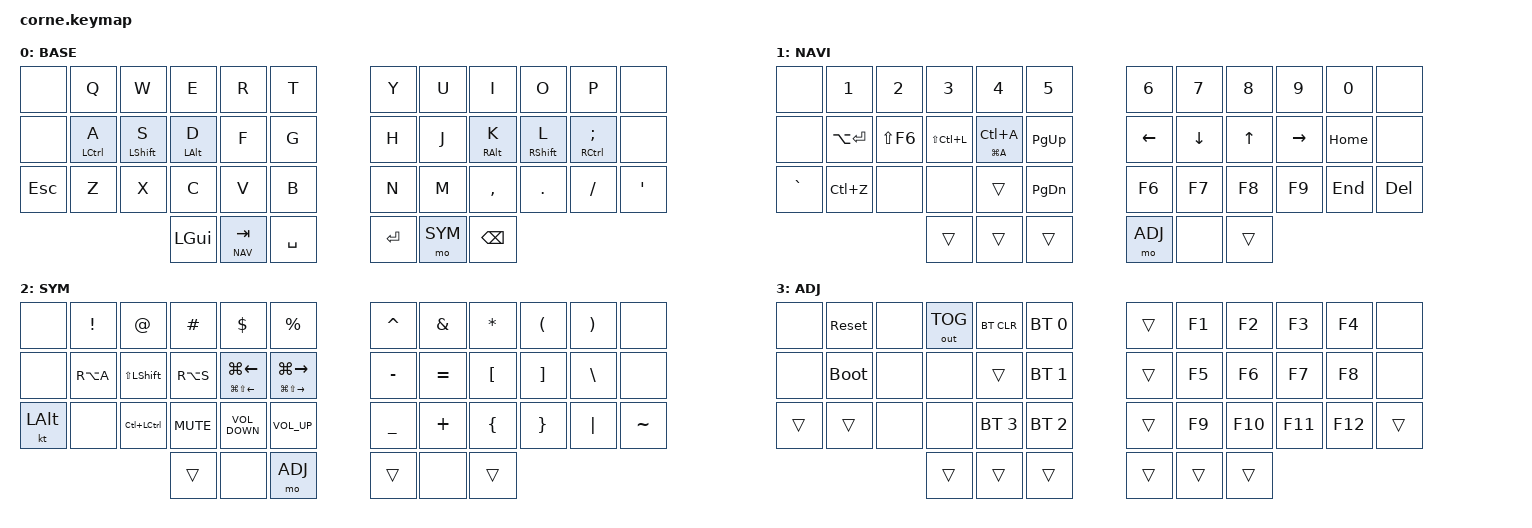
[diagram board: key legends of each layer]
/*
 * Copyright (c) 2020 The ZMK Contributors
 *
 * SPDX-License-Identifier: MIT
 */

#include <behaviors.dtsi>
#include <dt-bindings/zmk/bt.h>
#include <dt-bindings/zmk/keys.h>
#include <dt-bindings/zmk/outputs.h>

#define BASE 0
#define NAV  1
#define SYM  2
#define ADJ  3

&mt {
    quick-tap-ms = <100>;
    require-prior-idle-ms = <100>;
    flavor = "tap-preferred";
    tapping-term-ms = <180>;
};

/ {
    combos {
        compatible = "zmk,combos";

        combo_esc {
            timeout-ms = <50>;
            key-positions = <1 2>;
            bindings = <&kp ESC>;
        };

        screenshot {
            bindings = <&mt PRINTSCREEN LG(LS(NUMBER_4))>;
            key-positions = <30 31 32 33>;
        };

        backspace {
            bindings = <&kp BACKSPACE>;
            key-positions = <29 28 27>;
        };

        toggleshift {
            bindings = <&kt LEFT_SHIFT>;
            key-positions = <18 19 20>;
        };

        bspace_right {
            bindings = <&kp BACKSPACE>;
            key-positions = <30 31 32>;
        };

        copy {
            bindings = <&kp C_AC_COPY>;
            key-positions = <15 16>;
        };

        paste {
            bindings = <&kp C_AC_PASTE>;
            key-positions = <17 16>;
        };

        layout {
            bindings = <&kp LS(LEFT_ALT)>;
            key-positions = <13 14 15 28>;
        };

        Project_window {
            bindings = <&kp LA(NUMBER_1)>;
            key-positions = <14 15>;
        };

        Git_window {
            bindings = <&kp LA(N9)>;
            key-positions = <26 27>;
        };
    };

    keymap {
        compatible = "zmk,keymap";

        // The outer positions on the top two rows have no Totem equivalent.
        base_layer {
            label = "BASE";
            bindings = <
                &none  &kp Q  &kp W  &kp E  &kp R  &kp T    &kp Y  &kp U  &kp I  &kp O  &kp P  &none
                &none  &mt LCTRL A  &mt LSHIFT S  &mt LEFT_ALT D  &kp F  &kp G    &kp H  &kp J  &mt RIGHT_ALT K  &mt RIGHT_SHIFT L  &mt RCTRL SEMI  &none
                &kp ESC  &kp Z  &kp X  &kp C  &kp V  &kp B    &kp N  &kp M  &kp COMMA  &kp DOT  &kp FSLH  &kp APOS
                    &kp LGUI  &lt NAV TAB  &kp SPACE    &kp RET  &mo SYM  &kp BSPC
            >;
        };

        nav_layer {
            label = "NAVI";
            bindings = <
                &none  &kp NUMBER_1  &kp NUMBER_2  &kp NUMBER_3  &kp NUMBER_4  &kp N5    &kp NUMBER_6  &kp N7  &kp NUMBER_8  &kp NUMBER_9  &kp N0  &none
                &none  &kp LA(ENTER)  &kp LS(F6)  &kp LS(LC(L))  &mt LG(A) LC(A)  &kp PAGE_UP    &kp LEFT  &kp DOWN  &kp UP_ARROW  &kp RIGHT  &kp HOME  &none
                &kp GRAVE  &kp LC(Z)  &none  &none  &trans  &kp PAGE_DOWN    &kp F6  &kp F7  &kp F8  &kp F9  &kp END  &kp DELETE
                    &trans  &trans  &trans    &mo ADJ  &none  &trans
            >;
        };

        sim_layer {
            label = "SYM";
            bindings = <
                &none  &kp EXCL  &kp AT  &kp HASH  &kp DLLR  &kp PRCNT    &kp CARET  &kp AMPS  &kp ASTRK  &kp LPAR  &kp RPAR  &none
                &none  &kp RA(A)  &kp LS(LSHIFT)  &kp RA(S)  &mt LG(LS(LEFT)) LG(LEFT)  &mt LG(LS(RIGHT)) LG(RIGHT)    &kp MINUS  &kp EQUAL  &kp LBKT  &kp RBKT  &kp BSLH  &none
                &kt LEFT_ALT  &none  &kp LC(LEFT_CONTROL)  &kp K_MUTE  &kp C_VOLUME_DOWN  &kp C_VOLUME_UP    &kp UNDER  &kp PLUS  &kp LBRC  &kp RBRC  &kp PIPE  &kp TILDE
                    &trans  &none  &mo ADJ    &trans  &none  &trans
            >;
        };

        adjust_layer {
            label = "ADJ";
            bindings = <
                &none  &sys_reset  &none  &out OUT_TOG  &bt BT_CLR  &bt BT_SEL 0    &trans  &kp F1  &kp F2  &kp F3  &kp F4  &none
                &none  &bootloader  &none  &none  &trans  &bt BT_SEL 1    &trans  &kp F5  &kp F6  &kp F7  &kp F8  &none
                &trans  &trans  &none  &none  &bt BT_SEL 3  &bt BT_SEL 2    &trans  &kp F9  &kp F10  &kp F11  &kp F12  &trans
                    &trans  &trans  &trans    &trans  &trans  &trans
            >;
        };
    };
};
